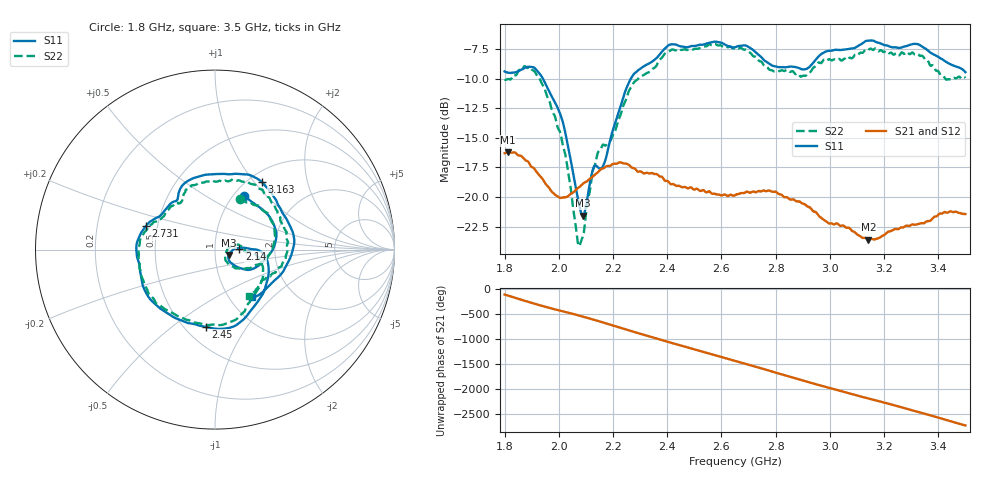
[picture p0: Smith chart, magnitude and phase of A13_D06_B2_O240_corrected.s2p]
! Created with skrf 1.9.0 (http://scikit-rf.org).
# Hz S RI R 50.0
!freq ReS11 ImS11 ReS21 ImS21 ReS12 ImS12 ReS22 ImS22
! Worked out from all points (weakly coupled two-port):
!   1601 points, 1.8 GHz to 3.5 GHz, reference 50 ohm
!   highest |S21| = -16.20 dB at 1.812 GHz (marker M1); lowest = -23.6 dB at 3.142 GHz (marker M2)
!   lowest |S11| = -21.6 dB at 2.089 GHz (marker M3), VSWR 1.18, Z = 58.3 - j3.59 ohm
!   |S11| at or under -10 dB: 1.942 GHz to 2.265 GHz (323.4 MHz wide, 15.4 % of centre)
!   |S22| runs from -24.2 to -7.0 dB; largest |S21 - S12| = 0.0026
!   S11 on the Smith chart (normalised r, x): 1.8 GHz: 1.12, +0.76; 2.14 GHz: 1.31, +0.01; 2.45 GHz: 0.63, -0.67; 2.731 GHz: 0.43, +0.14; 3.163 GHz: 1.15, +1.10; 3.5 GHz: 1.27, -0.76
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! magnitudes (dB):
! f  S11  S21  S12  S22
! 1.8 GHz  -9.4  -16.3  -16.3  -10.0
! 1.812 GHz  -9.5  -16.2  -16.2  -10.0
! 1.881 GHz  -9.0  -16.9  -16.9  -9.1
! 1.942 GHz  -10.0  -18.6  -18.5  -10.6
! 2.013 GHz  -13.5  -20.1  -20.1  -15.4
! 2.069 GHz  -19.9  -19.3  -19.3  -23.7
! 2.084 GHz  -21.4  -19.0  -19.0  -23.6
! 2.089 GHz  -21.6  -18.9  -18.9  -23.3
! 2.14 GHz  -17.4  -18.0  -18.0  -16.6
! 2.168 GHz  -17.1  -17.5  -17.5  -15.6
! 2.266 GHz  -9.9  -17.4  -17.4  -10.7
! 2.367 GHz  -8.1  -18.2  -18.1  -8.5
! 2.45 GHz  -7.2  -19.1  -19.1  -7.5
! 2.65 GHz  -7.3  -19.9  -19.8  -7.4
! 2.731 GHz  -7.8  -19.6  -19.6  -8.2
! 2.934 GHz  -8.8  -21.1  -21.1  -9.2
! 3.142 GHz  -6.8  -23.6  -23.5  -7.6
! 3.163 GHz  -6.8  -23.6  -23.5  -7.5
! 3.217 GHz  -7.2  -22.9  -22.9  -7.8
! 3.326 GHz  -7.1  -22.3  -22.3  -7.9
! 3.429 GHz  -8.6  -21.3  -21.3  -10.1
! 3.5 GHz  -9.4  -21.4  -21.4  -9.9
